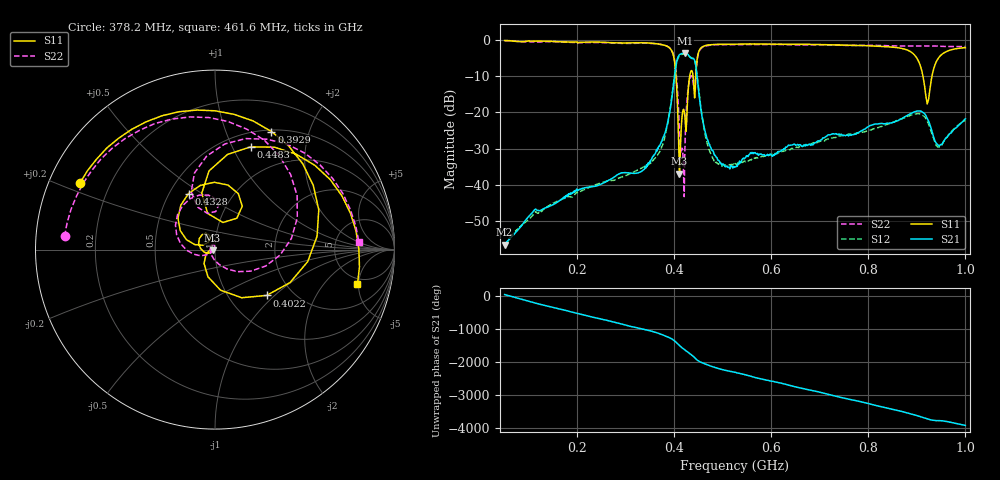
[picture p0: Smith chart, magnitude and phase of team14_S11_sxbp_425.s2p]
! TTR506A,Tektronix,B010463,Application version 2.0.1.4ead5a2e Firmware version 066185400
! Freq ReS11 ImS11 ReS21 ImS21 ReS12 ImS12 ReS22 ImS22
# HZ S RI R 50
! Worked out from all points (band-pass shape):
!   1024 points, 50 MHz to 1 GHz, reference 50 ohm
!   highest |S21| = -3.71 dB at 421.5 MHz (marker M1); lowest = -56.5 dB at 50 MHz (marker M2)
!   |S21| within 3 dB of the highest: 404 MHz to 443.5 MHz (39.5 MHz wide, 9.32 % of centre)
!   lowest |S11| = -36.9 dB at 410.6 MHz (marker M3), VSWR 1.03, Z = 48.7 - j0.443 ohm
!   |S11| at or under -10 dB: 403.3 MHz to 431.7 MHz (28.43 MHz wide, 6.81 % of centre); 438.4 MHz to 444.3 MHz (5.9 MHz wide, 1.34 % of centre); 912.4 MHz to 931.3 MHz (18.94 MHz wide, 2.05 % of centre)
!   |S22| runs from -43.2 to -0.3 dB; largest |S21 - S12| = 0.031
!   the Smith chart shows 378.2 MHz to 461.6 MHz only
!   S11 on the Smith chart (normalised r, x): 378.2 MHz: 0.09, +0.23; 392.9 MHz: 0.52, +1.46; 402.2 MHz: 1.49, -0.89; 432.8 MHz: 0.62, +0.44; 448.3 MHz: 0.65, +1.18; 461.6 MHz: 4.16, -4.84
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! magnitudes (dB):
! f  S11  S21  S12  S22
! 50 MHz  -0.3  -56.5  -56.9  -0.3
! 112.2 MHz  -0.5  -46.8  -47.6  -0.7
! 208.7 MHz  -0.7  -41.1  -41.7  -0.9
! 331.5 MHz  -0.9  -36.3  -35.4  -1.0
! 367.3 MHz  -1.3  -29.6  -31.4  -1.2
! 378.2 MHz  -1.5  -26.5  -27.8  -1.5
! 392.9 MHz  -2.7  -17.9  -17.5  -2.7
! 402.2 MHz  -8.3  -8.1  -8.0  -7.3
! 410.6 MHz  -36.9  -4.2  -4.5  -25.2
! 415.4 MHz  -22.0  -3.8  -4.1  -29.9
! 421.5 MHz  -21.1  -3.7  -4.0  -30.9
! 432.8 MHz  -9.2  -4.9  -4.8  -10.3
! 448.3 MHz  -4.4  -12.0  -11.5  -4.6
! 461.6 MHz  -1.8  -24.3  -24.8  -1.9
! 483.7 MHz  -1.3  -31.9  -33.5  -1.5
! 525.1 MHz  -1.3  -35.0  -34.1  -1.4
! 683.4 MHz  -1.4  -28.7  -28.6  -1.5
! 843.8 MHz  -2.0  -23.0  -23.1  -1.7
! 889.5 MHz  -3.6  -20.2  -20.8  -1.8
! 921.3 MHz  -17.7  -21.7  -22.4  -1.8
! 948.7 MHz  -4.4  -28.9  -29.5  -1.8
! 1 GHz  -2.2  -21.8  -22.3  -1.9
